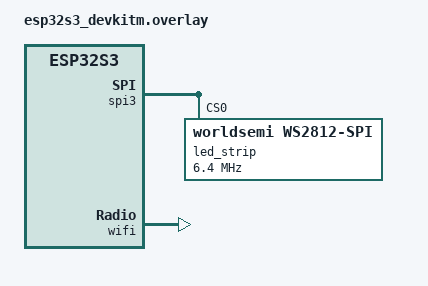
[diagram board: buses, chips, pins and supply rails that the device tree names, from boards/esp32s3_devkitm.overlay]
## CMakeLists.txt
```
# SPDX-License-Identifier: Apache-2.0

cmake_minimum_required(VERSION 3.20.0)

set(DTC_OVERLAY_FILE "${CMAKE_CURRENT_SOURCE_DIR}/boards/esp32s3_devkitm.overlay" CACHE STRING "" FORCE)

find_package(Zephyr REQUIRED HINTS $ENV{ZEPHYR_BASE})
project(esp32s3_zephyr_verification)

target_sources(app PRIVATE
    src/main.c
    src/mmap_storage.c
)
```

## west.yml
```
manifest:
  remotes:
    - name: zephyrproject-rtos
      url-base: https://github.com/zephyrproject-rtos
  defaults:
    remote: zephyrproject-rtos
    revision: v3.7.0
  projects:
    - name: zephyr
      remote: zephyrproject-rtos
      revision: v3.7.0
      import: true
  self:
    path: app
```

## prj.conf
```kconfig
# ==============================================================================
# Zephyr RTOS Configuration for ESP32-S3-WROOM-1 (N16R8)
# Full Feature Stack: Shell, WS2812 LED, Wi-Fi, BLE NUS, Sockets Web Server
# ==============================================================================

# 1. Console & Interactive Serial Shell
CONFIG_CONSOLE=y
CONFIG_UART_CONSOLE=y
CONFIG_SERIAL=y
CONFIG_PRINTK=y
CONFIG_SHELL=y
CONFIG_SHELL_BACKEND_SERIAL=y
CONFIG_SHELL_PROMPT_UART="zephyr-esp32s3:~$ "
CONFIG_SHELL_CMDS=y
CONFIG_SHELL_TAB=y
CONFIG_SHELL_HISTORY=y

# 2. Kernel & RTOS Multi-threading
CONFIG_MULTITHREADING=y
CONFIG_MAIN_STACK_SIZE=4096
CONFIG_SYSTEM_WORKQUEUE_STACK_SIZE=4096
CONFIG_HEAP_MEM_POOL_SIZE=102400
CONFIG_COMMON_LIBC_MALLOC_ARENA_SIZE=28672
CONFIG_THREAD_NAME=y
CONFIG_THREAD_ANALYZER=y
CONFIG_THREAD_ANALYZER_USE_PRINTK=y
CONFIG_TIMING_FUNCTIONS=y

# 3. Hardware Drivers & Flash
CONFIG_GPIO=y
CONFIG_REBOOT=y
CONFIG_HWINFO=y
CONFIG_FLASH=y
CONFIG_FLASH_MAP=y
CONFIG_ESPTOOLPY_FLASHSIZE_16MB=y

# 4. WS2812 RGB LED (SPI3 Driver)
CONFIG_SPI=y
CONFIG_LED_STRIP=y
CONFIG_WS2812_STRIP_SPI=y

# 5. Networking & Wi-Fi
CONFIG_NETWORKING=y
CONFIG_NET_L2_ETHERNET=y
CONFIG_NET_IPV4=y
CONFIG_NET_DHCPV4=y
# CONFIG_ESP32_WIFI_STA_AUTO_DHCPV4 is not set
CONFIG_NET_TCP=y
CONFIG_NET_UDP=y
CONFIG_NET_SOCKETS=y
CONFIG_WIFI=y
CONFIG_WIFI_ESP32=y
CONFIG_NET_L2_WIFI_MGMT=y
CONFIG_NET_L2_WIFI_SHELL=y
CONFIG_NET_SHELL=y
CONFIG_NET_MGMT=y
CONFIG_NET_MGMT_EVENT=y
CONFIG_NET_STATISTICS=y
CONFIG_NET_STATISTICS_WIFI=y
CONFIG_NET_PKT_RX_COUNT=8
CONFIG_NET_PKT_TX_COUNT=8
CONFIG_NET_BUF_RX_COUNT=16
CONFIG_NET_BUF_TX_COUNT=16
CONFIG_NET_MAX_CONTEXTS=10
CONFIG_INIT_STACKS=y
CONFIG_NET_TX_STACK_SIZE=2048
CONFIG_NET_RX_STACK_SIZE=2048

# 6. Bluetooth BLE & Nordic UART Service (NUS)
CONFIG_BT=y
CONFIG_BT_PERIPHERAL=y
CONFIG_BT_DEVICE_NAME="ESP32-S3-Zephyr"
CONFIG_BT_ZEPHYR_NUS=y
CONFIG_BT_MAX_CONN=2
CONFIG_BT_BUF_ACL_RX_SIZE=128
CONFIG_BT_BUF_ACL_TX_SIZE=128
CONFIG_BT_L2CAP_TX_MTU=128
CONFIG_BT_GAP_AUTO_UPDATE_CONN_PARAMS=y

# 7. Logging Subsystem
CONFIG_LOG=y
CONFIG_LOG_DEFAULT_LEVEL=3
CONFIG_LOG_PRINTK=y
CONFIG_WIFI_LOG_LEVEL_ERR=y
```

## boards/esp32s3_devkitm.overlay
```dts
/*
 * Device Tree Overlay for ESP32-S3 DevKit
 * Configures GPIO, WS2812 RGB LED (SPI3), and Wi-Fi
 */

#include <zephyr/dt-bindings/led/led.h>

/ {
	aliases {
		led-strip = &led_strip;
	};
};

&spi3 {
	status = "okay";
	line-idle-low;

	led_strip: ws2812@0 {
		compatible = "worldsemi,ws2812-spi";
		reg = <0>;
		spi-max-frequency = <6400000>;
		chain-length = <1>;
		spi-cpha;
		spi-one-frame = <0xf0>;
		spi-zero-frame = <0xc0>;
		color-mapping = <LED_COLOR_ID_GREEN
				 LED_COLOR_ID_RED
				 LED_COLOR_ID_BLUE>;
	};
};

&pinctrl {
	spim3_default: spim3_default {
		group2 {
			pinmux = <SPIM3_MOSI_GPIO48>;
		};
	};
};

&wifi {
	status = "okay";
};

&flash0 {
	reg = <0x0 DT_SIZE_M(16)>;
};
```

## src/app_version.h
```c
/**
 * @file app_version.h
 * @brief Application version and build timestamp definitions
 */

#pragma once

#ifndef APP_VERSION
#define APP_VERSION       "v2.0.0"
#endif

#define APP_BUILD_DATE    __DATE__
#define APP_BUILD_TIME    __TIME__
```

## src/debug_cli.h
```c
/**
 * @file debug_cli.h
 * @brief Dual-Interface (USB Serial + BLE UART) CLI Shell for ESP32-S3
 */

#pragma once

#include <Arduino.h>
#include <stdint.h>
#include <stdbool.h>

/* ── CLI Configuration ─────────────────────────────────────── */
#define CLI_MAX_COMMANDS   32
#define CLI_MAX_CMD_LEN    128
#define CLI_MAX_ARGS       8
#define CLI_RX_RING_SIZE   512
#define CLI_PROMPT         "ESP32> "

#define BLE_DEVICE_NAME    "ESP32-S3-CLI"

/* ── Command Function Pointer ──────────────────────────────── */
typedef int (*cli_cmd_func_t)(int argc, char **argv);

/* ── Command Table Entry ────────────────────────────────────── */
typedef struct {
    const char      *name;
    cli_cmd_func_t   func;
    const char      *help;
} cli_command_t;

/* ── Public API ─────────────────────────────────────────────── */
void CLI_Init(void);
void CLI_Process(void);
bool CLI_RegisterCommand(const char *name, cli_cmd_func_t func, const char *help);
void CLI_PutRxChar(char ch);
void CLI_Print(const char *str);
void CLI_Printf(const char *format, ...);
bool CLI_IsBLEConnected(void);
String CLI_ExecuteWebCommand(const char *line);

/* ── PSRAM Test API ─────────────────────────────────────────── */
bool PSRAM_AllocMB(int mb);
void PSRAM_FreeAll(void);
size_t PSRAM_GetAllocatedBytes(void);
```

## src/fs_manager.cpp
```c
/**
 * @file fs_manager.cpp
 * @brief 7MB LittleFS File System Manager implementation
 */

#include "fs_manager.h"

static bool g_fs_mounted = false;

bool FS_Init(void)
{
    if (g_fs_mounted) return true;

    // true: 마운트 실패 시 자동 포맷
    if (!LittleFS.begin(true)) {
        Serial.println(F("[LittleFS] Mount Failed!"));
        return false;
    }

    g_fs_mounted = true;
    Serial.printf("[LittleFS] Mounted successfully! Total: %lu bytes, Used: %lu bytes\r\n",
                  (unsigned long)LittleFS.totalBytes(),
                  (unsigned long)LittleFS.usedBytes());

    // 기본 파일이 없으면 샘플 파일 생성
    if (!LittleFS.exists("/config.json")) {
        FS_CreateSampleFiles();
    }

    return true;
}

size_t FS_GetTotalBytes(void)
{
    if (!g_fs_mounted) return 0;
    return LittleFS.totalBytes();
}

size_t FS_GetUsedBytes(void)
{
    if (!g_fs_mounted) return 0;
    return LittleFS.usedBytes();
}

String FS_GetFileListJSON(void)
{
    if (!g_fs_mounted) return "[]";

    File root = LittleFS.open("/");
    if (!root || !root.isDirectory()) {
        return "[]";
    }

    String json = "[";
    bool first = true;

    File file = root.openNextFile();
    while (file) {
        if (!file.isDirectory()) {
            if (!first) json += ",";
            first = false;
            json += "{\"name\":\"";
            String fname = file.name();
            if (fname.startsWith("/")) fname = fname.substring(1);
            json += fname;
            json += "\",\"size\":";
            json += String(file.size());
            json += "}";
        }
        file = root.openNextFile();
    }
    json += "]";
    return json;
}

bool FS_Format(void)
{
    if (!g_fs_mounted) return false;
    Serial.println(F("[LittleFS] Formatting filesystem..."));
    bool res = LittleFS.format();
    if (res) {
        Serial.println(F("[LittleFS] Format completed successfully!"));
        FS_CreateSampleFiles();
    } else {
        Serial.println(F("[LittleFS] Format failed!"));
    }
    return res;
}

bool FS_FileExists(const char *path)
{
    if (!g_fs_mounted) return false;
    return LittleFS.exists(path);
}

bool FS_DeleteFile(const char *path)
{
    if (!g_fs_mounted) return false;
    return LittleFS.remove(path);
}

bool FS_WriteFile(const char *path, const char *data)
{
    if (!g_fs_mounted) return false;
    File f = LittleFS.open(path, "w");
    if (!f) return false;
    f.print(data);
    f.close();
    return true;
}

String FS_ReadFile(const char *path)
{
    if (!g_fs_mounted) return "";
    File f = LittleFS.open(path, "r");
    if (!f) return "";
    String content = f.readString();
    f.close();
    return content;
}

void FS_CreateSampleFiles(void)
{
    Serial.println(F("[LittleFS] Generating default sample files..."));

    // 1. config.json
    const char *cfg = "{\r\n"
                      "  \"device\": \"ESP32-S3-EVKit-Verification\",\r\n"
                      "  \"hardware\": \"ESP32-S3-WROOM-1 (N16R8)\",\r\n"
                      "  \"flash_total_mb\": 16,\r\n"
                      "  \"psram_total_mb\": 8,\r\n"
                      "  \"filesystem\": \"LittleFS 7MB\",\r\n"
                      "  \"ota_support\": true,\r\n"
                      "  \"version\": \"1.0.0\"\r\n"
                      "}\r\n";
    FS_WriteFile("/config.json", cfg);

    // 2. sensor_log.csv
    const char *csv = "Timestamp,Uptime_sec,Chip_Temp_C,Heap_Free_KB,PSRAM_Free_MB\r\n"
                      "2026-11-22 11:30:00,10,42.5,285,7.92\r\n"
                      "2026-11-22 11:30:05,15,42.7,284,7.92\r\n"
                      "2026-11-22 11:30:10,20,42.6,284,7.92\r\n"
                      "2026-11-22 11:30:15,25,42.8,283,7.92\r\n"
                      "2026-11-22 11:30:20,30,42.5,283,7.92\r\n";
    FS_WriteFile("/sensor_log.csv", csv);

    // 3. readme.txt
    const char *txt = "=== ESP32-S3 LittleFS 7MB Storage ===\r\n"
                      "This file system is stored directly in the on-board 16MB Flash memory.\r\n"
                      "You can download, view, delete, or upload .txt, .json, and .csv files\r\n"
                      "wirelessly using the Web Dashboard (http://192.168.4.1) or the CLI shell.\r\n";
    FS_WriteFile("/readme.txt", txt);

    Serial.println(F("[LittleFS] Sample files created: /config.json, /sensor_log.csv, /readme.txt"));
}
```

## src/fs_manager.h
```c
/**
 * @file fs_manager.h
 * @brief 7MB LittleFS File System Manager for ESP32-S3
 */

#pragma once

#include <Arduino.h>
#include <LittleFS.h>

bool   FS_Init(void);
size_t FS_GetTotalBytes(void);
size_t FS_GetUsedBytes(void);
String FS_GetFileListJSON(void);
bool   FS_Format(void);
bool   FS_FileExists(const char *path);
bool   FS_DeleteFile(const char *path);
bool   FS_WriteFile(const char *path, const char *data);
String FS_ReadFile(const char *path);
void   FS_CreateSampleFiles(void);
```

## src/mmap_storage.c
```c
/**
 * @file mmap_storage.c
 * @brief 128KB Flash MMAP implementation for ESP32-S3 under Zephyr RTOS
 */

#include "mmap_storage.h"
#include <esp_flash.h>
#include <spi_flash_mmap.h>
#include <string.h>
#include <stdio.h>
#include <zephyr/logging/log.h>

LOG_MODULE_REGISTER(mmap_store, LOG_LEVEL_INF);

static const void *g_mapped_ptr = NULL;
static spi_flash_mmap_handle_t g_mmap_handle = 0;
static bool g_initialized = false;

bool mmap_storage_init(void)
{
    if (g_initialized) return true;

    /* Map 128KB physical flash at 0x00F10000 into CPU virtual address space via hardware MMU */
    esp_err_t err = spi_flash_mmap(
        MMAP_STORAGE_PHYS_ADDR,
        MMAP_STORAGE_SIZE,
        SPI_FLASH_MMAP_DATA,
        &g_mapped_ptr,
        &g_mmap_handle
    );

    if (err != ESP_OK || g_mapped_ptr == NULL) {
        LOG_ERR("spi_flash_mmap failed at 0x%08X (err: 0x%X)", MMAP_STORAGE_PHYS_ADDR, err);
        return false;
    }

    g_initialized = true;
    const mmap_nv_header_t *hdr = (const mmap_nv_header_t *)g_mapped_ptr;
    LOG_INF("MMU MMAP Initialized! Physical: 0x%08X -> Virtual: %p (Size: 128KB)",
            MMAP_STORAGE_PHYS_ADDR, g_mapped_ptr);

    if (hdr->magic != MMAP_MAGIC_HEADER) {
        LOG_WRN("Unformatted MMAP Flash detected! Formatting 4KB sector...");
        mmap_nv_header_t init_hdr;
        memset(&init_hdr, 0, sizeof(init_hdr));
        init_hdr.magic = MMAP_MAGIC_HEADER;
        init_hdr.boot_count = 1;
        init_hdr.write_count = 1;
        strncpy(init_hdr.device_tag, "ESP32-S3-ZEPHYR-N16R8", sizeof(init_hdr.device_tag) - 1);
        strncpy(init_hdr.user_memo, "Hello from Zephyr RTOS 128KB Flash MMAP!", sizeof(init_hdr.user_memo) - 1);

        esp_flash_erase_region(NULL, MMAP_STORAGE_PHYS_ADDR, 4096);
        esp_flash_write(NULL, &init_hdr, MMAP_STORAGE_PHYS_ADDR, sizeof(init_hdr));
    } else {
        mmap_storage_increment_boot_count();
    }
    return true;
}

const mmap_nv_header_t* mmap_storage_get_header(void)
{
    if (!g_initialized && !mmap_storage_init()) return NULL;
    return (const mmap_nv_header_t *)g_mapped_ptr;
}

const uint8_t* mmap_storage_get_raw_ptr(void)
{
    if (!g_initialized && !mmap_storage_init()) return NULL;
    return (const uint8_t *)g_mapped_ptr;
}

uint32_t mmap_storage_get_virt_addr(void)
{
    return (uint32_t)g_mapped_ptr;
}

uint32_t mmap_storage_get_phys_addr(void)
{
    return MMAP_STORAGE_PHYS_ADDR;
}

void mmap_storage_increment_boot_count(void)
{
    if (!g_initialized && !mmap_storage_init()) return;
    const mmap_nv_header_t *hdr = (const mmap_nv_header_t *)g_mapped_ptr;

    mmap_nv_header_t copy;
    memcpy(&copy, hdr, sizeof(copy));
    copy.boot_count++;

    esp_flash_erase_region(NULL, MMAP_STORAGE_PHYS_ADDR, 4096);
    esp_flash_write(NULL, &copy, MMAP_STORAGE_PHYS_ADDR, sizeof(copy));
}

bool mmap_storage_save_memo(const char *memo)
{
    if (!g_initialized && !mmap_storage_init()) return false;
    if (memo == NULL) return false;

    const mmap_nv_header_t *hdr = (const mmap_nv_header_t *)g_mapped_ptr;
    mmap_nv_header_t copy;
    memcpy(&copy, hdr, sizeof(copy));

    memset(copy.user_memo, 0, sizeof(copy.user_memo));
    strncpy(copy.user_memo, memo, sizeof(copy.user_memo) - 1);
    copy.write_count++;

    esp_err_t err = esp_flash_erase_region(NULL, MMAP_STORAGE_PHYS_ADDR, 4096);
    if (err != ESP_OK) return false;

    err = esp_flash_write(NULL, &copy, MMAP_STORAGE_PHYS_ADDR, sizeof(copy));
    return (err == ESP_OK);
}

bool mmap_storage_set_device_tag(const char *tag)
{
    if (!g_initialized && !mmap_storage_init()) return false;
    if (tag == NULL) return false;

    const mmap_nv_header_t *hdr = (const mmap_nv_header_t *)g_mapped_ptr;
    mmap_nv_header_t copy;
    memcpy(&copy, hdr, sizeof(copy));

    memset(copy.device_tag, 0, sizeof(copy.device_tag));
    strncpy(copy.device_tag, tag, sizeof(copy.device_tag) - 1);
    copy.write_count++;

    esp_err_t err = esp_flash_erase_region(NULL, MMAP_STORAGE_PHYS_ADDR, 4096);
    if (err != ESP_OK) return false;

    err = esp_flash_write(NULL, &copy, MMAP_STORAGE_PHYS_ADDR, sizeof(copy));
    return (err == ESP_OK);
}

void mmap_storage_hex_dump(uint32_t offset, size_t length, char *out_buf, size_t buf_size)
{
    if (!g_initialized && !mmap_storage_init()) {
        snprintf(out_buf, buf_size, "MMAP not initialized.");
        return;
    }
    if (offset + length > MMAP_STORAGE_SIZE) {
        length = MMAP_STORAGE_SIZE - offset;
    }

    const uint8_t *ptr = (const uint8_t *)g_mapped_ptr + offset;
    size_t written = 0;

    for (size_t i = 0; i < length && written < buf_size - 64; i += 16) {
        written += snprintf(out_buf + written, buf_size - written,
                            "%04lX: ", (unsigned long)(offset + i));

        for (size_t j = 0; j < 16; j++) {
            if (i + j < length) {
                written += snprintf(out_buf + written, buf_size - written, "%02X ", ptr[i + j]);
            } else {
                written += snprintf(out_buf + written, buf_size - written, "   ");
            }
        }
        written += snprintf(out_buf + written, buf_size - written, " |");

        for (size_t j = 0; j < 16 && (i + j) < length; j++) {
            char c = ptr[i + j];
            written += snprintf(out_buf + written, buf_size - written, "%c", (c >= 32 && c <= 126) ? c : '.');
        }
        written += snprintf(out_buf + written, buf_size - written, "|\r\n");
    }
}
```

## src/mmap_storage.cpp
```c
/**
 * @file mmap_storage.cpp
 * @brief 128KB Flash MMAP implementation for ESP32-S3
 */

#include "mmap_storage.h"
#include "esp_partition.h"
#include "esp_flash.h"
#include "spi_flash_mmap.h"
#include <string.h>

static const esp_partition_t *g_part = nullptr;
static const void *g_mapped_ptr = nullptr;
static spi_flash_mmap_handle_t g_mmap_handle = 0;
static bool g_initialized = false;

bool MMAP_Init(void)
{
    if (g_initialized) return true;

    // 파티션 테이블에서 "mmap_store" 파티션 검색
    g_part = esp_partition_find_first(ESP_PARTITION_TYPE_DATA, ESP_PARTITION_SUBTYPE_ANY, "mmap_store");
    if (g_part == nullptr) {
        Serial.println(F("[MMAP] Error: Partition 'mmap_store' not found!"));
        return false;
    }

    // 128KB 영역을 CPU 가상 주소 공간에 하드웨어 MMU 매핑
    esp_err_t err = esp_partition_mmap(
        g_part,
        0,                      // offset
        MMAP_STORAGE_SIZE,      // 128KB
        ESP_PARTITION_MMAP_DATA,// Data 읽기용 매핑
        &g_mapped_ptr,          // 매핑된 CPU 가상 주소 포인터 반환
        &g_mmap_handle
    );

    if (err != ESP_OK || g_mapped_ptr == nullptr) {
        Serial.printf("[MMAP] Error: esp_partition_mmap failed (err: 0x%X)\r\n", err);
        return false;
    }

    g_initialized = true;

    const mmap_nv_header_t *hdr = (const mmap_nv_header_t *)g_mapped_ptr;
    Serial.printf("[MMAP] Initialized! Physical: 0x%08lX -> Virtual: %p (Size: 128KB)\r\n",
                  (unsigned long)g_part->address, g_mapped_ptr);

    // 최초 사용 시(헤더 매직 넘버가 없을 때) 초기화
    if (hdr->magic != MMAP_MAGIC_HEADER) {
        Serial.println(F("[MMAP] Unformatted Flash detected! Formatting first 4KB sector..."));
        mmap_nv_header_t init_hdr;
        memset(&init_hdr, 0, sizeof(init_hdr));
        init_hdr.magic = MMAP_MAGIC_HEADER;
        init_hdr.boot_count = 1;
        init_hdr.write_count = 1;
        strncpy(init_hdr.device_tag, "ESP32-S3-N16R8-DEFAULT", sizeof(init_hdr.device_tag) - 1);
        strncpy(init_hdr.user_memo, "Hello from 128KB Flash MMAP Storage!", sizeof(init_hdr.user_memo) - 1);

        // 4KB 섹터 Erase 후 쓰기
        esp_partition_erase_range(g_part, 0, 4096);
        esp_partition_write(g_part, 0, &init_hdr, sizeof(init_hdr));
    } else {
        MMAP_IncrementBootCount();
    }

    return true;
}

const mmap_nv_header_t* MMAP_GetHeader(void)
{
    if (!g_initialized && !MMAP_Init()) return nullptr;
    return (const mmap_nv_header_t *)g_mapped_ptr;
}

const uint8_t* MMAP_GetRawPointer(void)
{
    if (!g_initialized && !MMAP_Init()) return nullptr;
    return (const uint8_t *)g_mapped_ptr;
}

uint32_t MMAP_GetVirtualAddress(void)
{
    return (uint32_t)g_mapped_ptr;
}

uint32_t MMAP_GetPhysicalAddress(void)
{
    return g_part ? g_part->address : 0;
}

void MMAP_IncrementBootCount(void)
{
    if (!g_initialized && !MMAP_Init()) return;
    const mmap_nv_header_t *hdr = (const mmap_nv_header_t *)g_mapped_ptr;

    mmap_nv_header_t copy;
    memcpy(&copy, hdr, sizeof(copy));
    copy.boot_count++;

    // 4KB 섹터 안전 갱신
    esp_partition_erase_range(g_part, 0, 4096);
    esp_partition_write(g_part, 0, &copy, sizeof(copy));
}

bool MMAP_SaveMemo(const char *memo)
{
    if (!g_initialized && !MMAP_Init()) return false;
    if (memo == nullptr) return false;

    const mmap_nv_header_t *hdr = (const mmap_nv_header_t *)g_mapped_ptr;
    mmap_nv_header_t copy;
    memcpy(&copy, hdr, sizeof(copy));

    memset(copy.user_memo, 0, sizeof(copy.user_memo));
    strncpy(copy.user_memo, memo, sizeof(copy.user_memo) - 1);
    copy.write_count++;

    esp_err_t err = esp_partition_erase_range(g_part, 0, 4096);
    if (err != ESP_OK) return false;

    err = esp_partition_write(g_part, 0, &copy, sizeof(copy));
    return (err == ESP_OK);
}

bool MMAP_SetDeviceTag(const char *tag)
{
    if (!g_initialized && !MMAP_Init()) return false;
    if (tag == nullptr) return false;

    const mmap_nv_header_t *hdr = (const mmap_nv_header_t *)g_mapped_ptr;
    mmap_nv_header_t copy;
    memcpy(&copy, hdr, sizeof(copy));

    memset(copy.device_tag, 0, sizeof(copy.device_tag));
    strncpy(copy.device_tag, tag, sizeof(copy.device_tag) - 1);
    copy.write_count++;

    esp_err_t err = esp_partition_erase_range(g_part, 0, 4096);
    if (err != ESP_OK) return false;

    err = esp_partition_write(g_part, 0, &copy, sizeof(copy));
    return (err == ESP_OK);
}

void MMAP_HexDump(uint32_t offset, size_t length, char *out_buf, size_t buf_size)
{
    if (!g_initialized && !MMAP_Init()) {
        snprintf(out_buf, buf_size, "MMAP not initialized.");
        return;
    }
    if (offset + length > MMAP_STORAGE_SIZE) {
        length = MMAP_STORAGE_SIZE - offset;
    }

    const uint8_t *ptr = (const uint8_t *)g_mapped_ptr + offset;
    size_t written = 0;

    for (size_t i = 0; i < length && written < buf_size - 64; i += 16) {
        written += snprintf(out_buf + written, buf_size - written,
                            "%04lX: ", (unsigned long)(offset + i));

        // Hex bytes
        for (size_t j = 0; j < 16; j++) {
            if (i + j < length) {
                written += snprintf(out_buf + written, buf_size - written, "%02X ", ptr[i + j]);
            } else {
                written += snprintf(out_buf + written, buf_size - written, "   ");
            }
        }
        written += snprintf(out_buf + written, buf_size - written, " |");

        // ASCII chars
        for (size_t j = 0; j < 16 && (i + j) < length; j++) {
            char c = ptr[i + j];
            written += snprintf(out_buf + written, buf_size - written, "%c", (c >= 32 && c <= 126) ? c : '.');
        }
        written += snprintf(out_buf + written, buf_size - written, "|\r\n");
    }
}
```

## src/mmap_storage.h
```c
/**
 * @file mmap_storage.h
 * @brief 128KB Flash Non-Volatile Memory via Hardware MMU (mmap) on Zephyr RTOS
 */

#pragma once

#include <stdint.h>
#include <stdbool.h>
#include <stddef.h>

#define MMAP_STORAGE_PHYS_ADDR 0x00F10000
#define MMAP_STORAGE_SIZE      (128 * 1024) // 128 KBytes = 131,072 Bytes
#define MMAP_MAGIC_HEADER      0x53334D4D   // "S3MM" (ESP32-S3 MMAP)

#pragma pack(push, 1)
typedef struct {
    uint32_t magic;           // 0x53334D4D
    uint32_t boot_count;      // Non-volatile boot counter
    char     device_tag[32];  // Device tag
    char     user_memo[256];  // User non-volatile memo
    uint32_t write_count;     // Flash write counter
    uint8_t  reserved[176];   // 512-byte aligned header
} mmap_nv_header_t;
#pragma pack(pop)

#ifdef __cplusplus
extern "C" {
#endif

bool                    mmap_storage_init(void);
const mmap_nv_header_t* mmap_storage_get_header(void);
const uint8_t*          mmap_storage_get_raw_ptr(void);
uint32_t                mmap_storage_get_virt_addr(void);
uint32_t                mmap_storage_get_phys_addr(void);

bool mmap_storage_save_memo(const char *memo);
bool mmap_storage_set_device_tag(const char *tag);
void mmap_storage_increment_boot_count(void);
void mmap_storage_hex_dump(uint32_t offset, size_t length, char *out_buf, size_t buf_size);

#ifdef __cplusplus
}
#endif
```

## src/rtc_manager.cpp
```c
/**
 * @file rtc_manager.cpp
 * @brief ESP32-S3 Internal RTC Hardware Clock & Time Sync implementation
 */

#include "rtc_manager.h"
#include <WiFi.h>
#include <esp_sntp.h>

static bool g_rtc_synced = false;

void RTC_Init(void)
{
    // 기본 타임존: 한국 표준시 (KST = UTC+9)
    setenv("TZ", "KST-9", 1);
    tzset();

    time_t now = time(NULL);
    if (now > 1700000000) { // 2023년 이후면 유효한 시간으로 간주
        g_rtc_synced = true;
    }
    Serial.printf("[RTC] Hardware RTC Initialized. Current Time: %s (Synced: %s)\r\n",
                  RTC_GetTimeString().c_str(),
                  g_rtc_synced ? "YES" : "NO");
}

void RTC_SetEpoch(time_t epoch, int tz_offset_sec)
{
    struct timeval tv;
    tv.tv_sec = epoch;
    tv.tv_usec = 0;
    settimeofday(&tv, NULL);

    char tz_str[32];
    int tz_hour = tz_offset_sec / 3600;
    // POSIX TZ format: KST-9 (음수가 동쪽/빠른시간)
    snprintf(tz_str, sizeof(tz_str), "UTC%+d", -tz_hour);
    setenv("TZ", "KST-9", 1);
    tzset();

    g_rtc_synced = true;
    Serial.printf("[RTC] Synced to Epoch: %ld -> %s (KST)\r\n", (long)epoch, RTC_GetTimeString().c_str());
}

bool RTC_SetManualTime(int year, int mon, int mday, int hour, int min, int sec)
{
    struct tm t;
    memset(&t, 0, sizeof(t));
    t.tm_year = year - 1900;
    t.tm_mon  = mon - 1;
    t.tm_mday = mday;
    t.tm_hour = hour;
    t.tm_min  = min;
    t.tm_sec  = sec;

    time_t epoch = mktime(&t);
    if (epoch < 0) return false;

    RTC_SetEpoch(epoch);
    return true;
}

bool RTC_SyncNTP(void)
{
    if (WiFi.status() != WL_CONNECTED) {
        Serial.println(F("[RTC] Cannot sync NTP: Wi-Fi Station not connected to Internet!"));
        return false;
    }

    Serial.println(F("[RTC] Requesting time from NTP servers (kr.pool.ntp.org)..."));
    configTime(9 * 3600, 0, "kr.pool.ntp.org", "time.google.com", "pool.ntp.org");

    // 최대 5초 대기
    int retry = 0;
    time_t now = 0;
    while (retry < 10) {
        delay(500);
        now = time(NULL);
        if (now > 1700000000) {
            g_rtc_synced = true;
            Serial.printf("[RTC] NTP Sync Success: %s\r\n", RTC_GetTimeString().c_str());
            return true;
        }
        retry++;
    }
    Serial.println(F("[RTC] NTP Sync Timeout!"));
    return false;
}

bool RTC_IsSynced(void)
{
    if (g_rtc_synced) return true;
    time_t now = time(NULL);
    if (now > 1700000000) {
        g_rtc_synced = true;
        return true;
    }
    return false;
}

String RTC_GetTimeString(void)
{
    time_t now;
    time(&now);
    struct tm timeinfo;
    localtime_r(&now, &timeinfo);

    char buf[64];
    strftime(buf, sizeof(buf), "%Y-%m-%d %H:%M:%S", &timeinfo);
    return String(buf);
}

time_t RTC_GetEpoch(void)
{
    return time(NULL);
}
```

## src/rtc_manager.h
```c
/**
 * @file rtc_manager.h
 * @brief ESP32-S3 Internal RTC Hardware Clock & Time Sync Manager
 */

#pragma once

#include <Arduino.h>
#include <sys/time.h>
#include <time.h>

void   RTC_Init(void);
void   RTC_SetEpoch(time_t epoch, int tz_offset_sec = 9 * 3600);
bool   RTC_SetManualTime(int year, int mon, int mday, int hour, int min, int sec);
bool   RTC_SyncNTP(void);
bool   RTC_IsSynced(void);
String RTC_GetTimeString(void);
time_t RTC_GetEpoch(void);
```
